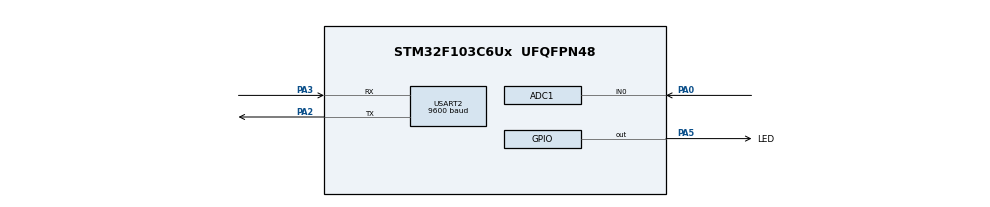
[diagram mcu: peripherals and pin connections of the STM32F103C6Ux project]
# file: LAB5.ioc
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ADC1.Channel-1\#ChannelRegularConversion=ADC_CHANNEL_0
ADC1.ContinuousConvMode=ENABLE
ADC1.NbrOfConversionFlag=1
ADC1.Rank-1\#ChannelRegularConversion=1
ADC1.SamplingTime-1\#ChannelRegularConversion=ADC_SAMPLETIME_1CYCLE_5
ADC1.master=1
Mcu.Family=STM32F1
Mcu.Name=STM32F103C6Ux
Mcu.Package=UFQFPN48
NVIC.PriorityGroup=NVIC_PRIORITYGROUP_4
NVIC.TIM2_IRQn=true\:0\:0\:false\:false\:true\:true\:true
NVIC.USART2_IRQn=true\:0\:0\:false\:false\:true\:true\:true
PA0-WKUP.Signal=ADCx_IN0
PA2.Mode=Asynchronous
PA2.Signal=USART2_TX
PA3.Mode=Asynchronous
PA3.Signal=USART2_RX
PA5.GPIO_Label=LED
PA5.Signal=GPIO_Output
ProjectManager.HeapSize=0x200
ProjectManager.StackSize=0x400
ProjectManager.TargetToolchain=STM32CubeIDE
RCC.APB1Freq_Value=8000000
RCC.APB2Freq_Value=8000000
SH.ADCx_IN0.0=ADC1_IN0,IN0
TIM2.Period=9
TIM2.Prescaler=7999
USART2.BaudRate=9600
USART2.VirtualMode=VM_ASYNC
VP_SYS_VS_ND.Mode=No_Debug
VP_TIM2_VS_ClockSourceINT.Mode=Internal
board=custom

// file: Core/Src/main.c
/* USER CODE BEGIN Header */
/**
  ******************************************************************************
  * @file           : main.c
  * @brief          : Main program body
  ******************************************************************************
  * @attention
  *
  * <h2><center>&copy; Copyright (c) 2024 STMicroelectronics.
  * All rights reserved.</center></h2>
  *
  * This software component is licensed by ST under BSD 3-Clause license,
  * the "License"; You may not use this file except in compliance with the
  * License. You may obtain a copy of the License at:
  *                        opensource.org/licenses/BSD-3-Clause
  *
  ******************************************************************************
  */
/* USER CODE END Header */
#include "main.h"

/* USER CODE BEGIN Includes */
#include "global.h"
/* USER CODE END Includes */

ADC_HandleTypeDef hadc1;

TIM_HandleTypeDef htim2;

UART_HandleTypeDef huart2;

void SystemClock_Config(void);
static void MX_GPIO_Init(void);
static void MX_USART2_UART_Init(void);
static void MX_ADC1_Init(void);
static void MX_TIM2_Init(void);

/* USER CODE BEGIN 0 */
uint8_t TX[] = "ahihi\r\n";
uint8_t temp;
void HAL_UART_RxCpltCallback(UART_HandleTypeDef * huart)
{
	if( huart->Instance == USART2 )
	{
		current_index_buffer = next_index_buffer;
		buffer[next_index_buffer++] = temp;

		if(next_index_buffer >= MAX_BUFFER_SIZE) next_index_buffer = 0;
		buffer_flag = 1;

		HAL_UART_Receive_IT(&huart2, &temp, sizeof(temp));
	}
}
/* USER CODE END 0 */

int main(void)
{

  /* MCU Configuration--------------------------------------------------------*/

  /* Reset of all peripherals, Initializes the Flash interface and the Systick. */
  HAL_Init();

  /* Configure the system clock */
  SystemClock_Config();

  /* Initialize all configured peripherals */
  MX_GPIO_Init();
  MX_USART2_UART_Init();
  MX_ADC1_Init();
  MX_TIM2_Init();
  /* USER CODE BEGIN 2 */
  HAL_ADC_Start(&hadc1);
  HAL_UART_Receive_IT (& huart2 , &temp , sizeof(temp)) ;
  HAL_TIM_Base_Start_IT(&htim2);
  /* USER CODE END 2 */

  /* Infinite loop */
  /* USER CODE BEGIN WHILE */
  setTimer(200, 0);

  char str[50];

  while (1)
  {
	  if(buffer_flag == 1){
		  command_parser_fsm();
		  buffer_flag = 0;
	  }

	  if(timerFlag[0]){
		  setTimer(200, 0);
		  //HAL_UART_Transmit(&huart2, TX, sizeof(TX), 500);
		  if(isReadADC_flag == 1){
			  //HAL_UART_Transmit(&huart2, TX, sizeof(TX), 500);
			  ADC_VALUE = HAL_ADC_GetValue(&hadc1);
			  isReadADC_flag = 0;
		  }
		  if(isSendADC_flag == 1){
			  HAL_UART_Transmit(&huart2, str, sprintf(str, "\r\n!ADC:%ld#\r\n", ADC_VALUE), 1000);
		  }
	  }

	  uart_communication_fsm();
    /* USER CODE END WHILE */

  }
}

void SystemClock_Config(void)
{
  RCC_OscInitTypeDef RCC_OscInitStruct = {0};
  RCC_ClkInitTypeDef RCC_ClkInitStruct = {0};
  RCC_PeriphCLKInitTypeDef PeriphClkInit = {0};

  /** Initializes the RCC Oscillators according to the specified parameters
  * in the RCC_OscInitTypeDef structure.
  */
  RCC_OscInitStruct.OscillatorType = RCC_OSCILLATORTYPE_HSI;
  RCC_OscInitStruct.HSIState = RCC_HSI_ON;
  RCC_OscInitStruct.HSICalibrationValue = RCC_HSICALIBRATION_DEFAULT;
  RCC_OscInitStruct.PLL.PLLState = RCC_PLL_NONE;
  if (HAL_RCC_OscConfig(&RCC_OscInitStruct) != HAL_OK)
  {
    Error_Handler();
  }
  /** Initializes the CPU, AHB and APB buses clocks
  */
  RCC_ClkInitStruct.ClockType = RCC_CLOCKTYPE_HCLK|RCC_CLOCKTYPE_SYSCLK
                              |RCC_CLOCKTYPE_PCLK1|RCC_CLOCKTYPE_PCLK2;
  RCC_ClkInitStruct.SYSCLKSource = RCC_SYSCLKSOURCE_HSI;
  RCC_ClkInitStruct.AHBCLKDivider = RCC_SYSCLK_DIV1;
  RCC_ClkInitStruct.APB1CLKDivider = RCC_HCLK_DIV1;
  RCC_ClkInitStruct.APB2CLKDivider = RCC_HCLK_DIV1;

  if (HAL_RCC_ClockConfig(&RCC_ClkInitStruct, FLASH_LATENCY_0) != HAL_OK)
  {
    Error_Handler();
  }
  PeriphClkInit.PeriphClockSelection = RCC_PERIPHCLK_ADC;
  PeriphClkInit.AdcClockSelection = RCC_ADCPCLK2_DIV2;
  if (HAL_RCCEx_PeriphCLKConfig(&PeriphClkInit) != HAL_OK)
  {
    Error_Handler();
  }
}

static void MX_ADC1_Init(void)
{

  ADC_ChannelConfTypeDef sConfig = {0};

  /** Common config
  */
  hadc1.Instance = ADC1;
  hadc1.Init.ScanConvMode = ADC_SCAN_DISABLE;
  hadc1.Init.ContinuousConvMode = ENABLE;
  hadc1.Init.DiscontinuousConvMode = DISABLE;
  hadc1.Init.ExternalTrigConv = ADC_SOFTWARE_START;
  hadc1.Init.DataAlign = ADC_DATAALIGN_RIGHT;
  hadc1.Init.NbrOfConversion = 1;
  if (HAL_ADC_Init(&hadc1) != HAL_OK)
  {
    Error_Handler();
  }
  /** Configure Regular Channel
  */
  sConfig.Channel = ADC_CHANNEL_0;
  sConfig.Rank = ADC_REGULAR_RANK_1;
  sConfig.SamplingTime = ADC_SAMPLETIME_1CYCLE_5;
  if (HAL_ADC_ConfigChannel(&hadc1, &sConfig) != HAL_OK)
  {
    Error_Handler();
  }

}

static void MX_TIM2_Init(void)
{

  TIM_ClockConfigTypeDef sClockSourceConfig = {0};
  TIM_MasterConfigTypeDef sMasterConfig = {0};

  htim2.Instance = TIM2;
  htim2.Init.Prescaler = 7999;
  htim2.Init.CounterMode = TIM_COUNTERMODE_UP;
  htim2.Init.Period = 9;
  htim2.Init.ClockDivision = TIM_CLOCKDIVISION_DIV1;
  htim2.Init.AutoReloadPreload = TIM_AUTORELOAD_PRELOAD_DISABLE;
  if (HAL_TIM_Base_Init(&htim2) != HAL_OK)
  {
    Error_Handler();
  }
  sClockSourceConfig.ClockSource = TIM_CLOCKSOURCE_INTERNAL;
  if (HAL_TIM_ConfigClockSource(&htim2, &sClockSourceConfig) != HAL_OK)
  {
    Error_Handler();
  }
  sMasterConfig.MasterOutputTrigger = TIM_TRGO_RESET;
  sMasterConfig.MasterSlaveMode = TIM_MASTERSLAVEMODE_DISABLE;
  if (HAL_TIMEx_MasterConfigSynchronization(&htim2, &sMasterConfig) != HAL_OK)
  {
    Error_Handler();
  }

}

static void MX_USART2_UART_Init(void)
{

  huart2.Instance = USART2;
  huart2.Init.BaudRate = 9600;
  huart2.Init.WordLength = UART_WORDLENGTH_8B;
  huart2.Init.StopBits = UART_STOPBITS_1;
  huart2.Init.Parity = UART_PARITY_NONE;
  huart2.Init.Mode = UART_MODE_TX_RX;
  huart2.Init.HwFlowCtl = UART_HWCONTROL_NONE;
  huart2.Init.OverSampling = UART_OVERSAMPLING_16;
  if (HAL_UART_Init(&huart2) != HAL_OK)
  {
    Error_Handler();
  }

}

static void MX_GPIO_Init(void)
{
  GPIO_InitTypeDef GPIO_InitStruct = {0};

  /* GPIO Ports Clock Enable */
  __HAL_RCC_GPIOA_CLK_ENABLE();

  /*Configure GPIO pin Output Level */
  HAL_GPIO_WritePin(LED_GPIO_Port, LED_Pin, GPIO_PIN_RESET);

  /*Configure GPIO pin : LED_Pin */
  GPIO_InitStruct.Pin = LED_Pin;
  GPIO_InitStruct.Mode = GPIO_MODE_OUTPUT_PP;
  GPIO_InitStruct.Pull = GPIO_NOPULL;
  GPIO_InitStruct.Speed = GPIO_SPEED_FREQ_LOW;
  HAL_GPIO_Init(LED_GPIO_Port, &GPIO_InitStruct);

}

/* USER CODE BEGIN 4 */
void HAL_TIM_PeriodElapsedCallback(TIM_HandleTypeDef *htim)
{
	timerRun();
}
/* USER CODE END 4 */

void Error_Handler(void)
{
  __disable_irq();
  while (1)
  {
  }
}

/************************ (C) COPYRIGHT STMicroelectronics *****END OF FILE****/
